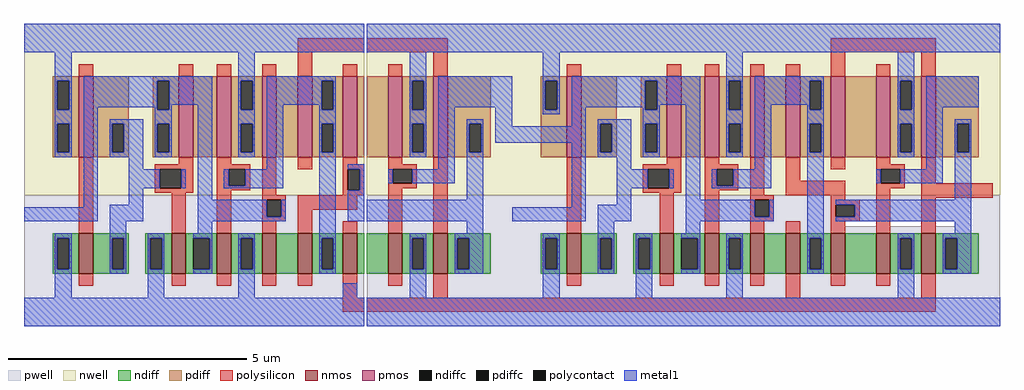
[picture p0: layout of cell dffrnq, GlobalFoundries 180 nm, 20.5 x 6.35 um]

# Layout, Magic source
magic
tech gf180mcuD
magscale 1 5
<< nwell >>
rect -745 325 -30 685
rect -25 325 1305 685
<< pwell >>
rect -745 50 -30 325
rect -25 270 1305 325
rect -25 260 980 270
rect 1045 260 1075 270
rect 1140 260 1170 270
rect 1210 260 1305 270
rect -25 50 1305 260
<< nmos >>
rect -630 160 -600 245
rect -435 160 -405 245
rect -340 160 -310 245
rect -245 160 -215 245
rect -170 160 -140 245
rect -75 160 -45 245
rect 20 160 50 245
rect 115 160 145 245
rect 395 160 425 245
rect 590 160 620 245
rect 685 160 715 245
rect 780 160 810 245
rect 855 160 885 245
rect 950 160 980 245
rect 1045 160 1075 245
rect 1140 160 1170 245
<< pmos >>
rect -630 405 -600 575
rect -420 405 -390 575
rect -340 405 -310 575
rect -245 405 -215 575
rect -170 405 -140 575
rect -75 405 -45 575
rect 20 405 50 575
rect 115 405 145 575
rect 395 405 425 575
rect 605 405 635 575
rect 685 405 715 575
rect 780 405 810 575
rect 855 405 885 575
rect 950 405 980 575
rect 1045 405 1075 575
rect 1140 405 1170 575
<< ndiff >>
rect -685 235 -630 245
rect -685 170 -675 235
rect -650 170 -630 235
rect -685 160 -630 170
rect -600 235 -525 245
rect -600 170 -560 235
rect -535 170 -525 235
rect -600 160 -525 170
rect -490 235 -435 245
rect -490 170 -480 235
rect -455 170 -435 235
rect -490 160 -435 170
rect -405 235 -340 245
rect -405 170 -390 235
rect -355 170 -340 235
rect -405 160 -340 170
rect -310 235 -245 245
rect -310 170 -290 235
rect -265 170 -245 235
rect -310 160 -245 170
rect -215 160 -170 245
rect -140 235 -75 245
rect -140 170 -120 235
rect -95 170 -75 235
rect -140 160 -75 170
rect -45 160 -30 245
rect -25 160 20 245
rect 50 235 115 245
rect 50 170 70 235
rect 95 170 115 235
rect 50 160 115 170
rect 145 235 235 245
rect 145 170 165 235
rect 190 170 235 235
rect 145 160 235 170
rect 340 235 395 245
rect 340 170 350 235
rect 375 170 395 235
rect 340 160 395 170
rect 425 235 500 245
rect 425 170 465 235
rect 490 170 500 235
rect 425 160 500 170
rect 535 235 590 245
rect 535 170 545 235
rect 570 170 590 235
rect 535 160 590 170
rect 620 235 685 245
rect 620 170 635 235
rect 670 170 685 235
rect 620 160 685 170
rect 715 235 780 245
rect 715 170 735 235
rect 760 170 780 235
rect 715 160 780 170
rect 810 160 855 245
rect 885 235 950 245
rect 885 170 905 235
rect 930 170 950 235
rect 885 160 950 170
rect 980 160 1045 245
rect 1075 235 1140 245
rect 1075 170 1095 235
rect 1120 170 1140 235
rect 1075 160 1140 170
rect 1170 235 1260 245
rect 1170 170 1190 235
rect 1215 170 1260 235
rect 1170 160 1260 170
<< pdiff >>
rect -685 565 -630 575
rect -685 505 -675 565
rect -650 505 -630 565
rect -685 475 -630 505
rect -685 415 -675 475
rect -650 415 -630 475
rect -685 405 -630 415
rect -600 475 -525 575
rect -600 415 -560 475
rect -535 415 -525 475
rect -600 405 -525 415
rect -475 565 -420 575
rect -475 505 -465 565
rect -440 505 -420 565
rect -475 475 -420 505
rect -475 415 -465 475
rect -440 415 -420 475
rect -475 405 -420 415
rect -390 405 -340 575
rect -310 565 -245 575
rect -310 505 -290 565
rect -265 505 -245 565
rect -310 475 -245 505
rect -310 415 -290 475
rect -265 415 -245 475
rect -310 405 -245 415
rect -215 405 -170 575
rect -140 565 -75 575
rect -140 505 -120 565
rect -95 505 -75 565
rect -140 475 -75 505
rect -140 415 -120 475
rect -95 415 -75 475
rect -140 405 -75 415
rect -45 405 -30 575
rect -25 405 20 575
rect 50 565 115 575
rect 50 505 70 565
rect 95 505 115 565
rect 50 475 115 505
rect 50 415 70 475
rect 95 415 115 475
rect 50 405 115 415
rect 145 475 235 575
rect 145 415 190 475
rect 215 415 235 475
rect 145 405 235 415
rect 340 565 395 575
rect 340 505 350 565
rect 375 505 395 565
rect 340 405 395 505
rect 425 475 500 575
rect 425 415 465 475
rect 490 415 500 475
rect 425 405 500 415
rect 550 565 605 575
rect 550 505 560 565
rect 585 505 605 565
rect 550 475 605 505
rect 550 415 560 475
rect 585 415 605 475
rect 550 405 605 415
rect 635 405 685 575
rect 715 565 780 575
rect 715 505 735 565
rect 760 505 780 565
rect 715 475 780 505
rect 715 415 735 475
rect 760 415 780 475
rect 715 405 780 415
rect 810 405 855 575
rect 885 565 950 575
rect 885 505 905 565
rect 930 505 950 565
rect 885 475 950 505
rect 885 415 905 475
rect 930 415 950 475
rect 885 405 950 415
rect 980 405 1045 575
rect 1075 565 1140 575
rect 1075 505 1095 565
rect 1120 505 1140 565
rect 1075 475 1140 505
rect 1075 415 1095 475
rect 1120 415 1140 475
rect 1075 405 1140 415
rect 1170 475 1260 575
rect 1170 415 1215 475
rect 1240 415 1260 475
rect 1170 405 1260 415
<< ndiffc >>
rect -675 170 -650 235
rect -560 170 -535 235
rect -480 170 -455 235
rect -390 170 -355 235
rect -290 170 -265 235
rect -120 170 -95 235
rect 70 170 95 235
rect 165 170 190 235
rect 350 170 375 235
rect 465 170 490 235
rect 545 170 570 235
rect 635 170 670 235
rect 735 170 760 235
rect 905 170 930 235
rect 1095 170 1120 235
rect 1190 170 1215 235
<< pdiffc >>
rect -675 505 -650 565
rect -675 415 -650 475
rect -560 415 -535 475
rect -465 505 -440 565
rect -465 415 -440 475
rect -290 505 -265 565
rect -290 415 -265 475
rect -120 505 -95 565
rect -120 415 -95 475
rect 70 505 95 565
rect 70 415 95 475
rect 190 415 215 475
rect 350 505 375 565
rect 465 415 490 475
rect 560 505 585 565
rect 560 415 585 475
rect 735 505 760 565
rect 735 415 760 475
rect 905 505 930 565
rect 905 415 930 475
rect 1095 505 1120 565
rect 1095 415 1120 475
rect 1215 415 1240 475
<< polysilicon >>
rect -170 625 -30 655
rect -25 625 145 655
rect -630 575 -600 600
rect -420 575 -390 600
rect -340 575 -310 600
rect -245 575 -215 600
rect -170 575 -140 625
rect -75 575 -45 600
rect 20 575 50 600
rect 115 575 145 625
rect 950 625 1170 655
rect 395 575 425 600
rect 605 575 635 600
rect 685 575 715 600
rect 780 575 810 600
rect 855 575 885 600
rect 950 575 980 625
rect 1045 575 1075 600
rect 1140 575 1170 625
rect -630 245 -600 405
rect -420 390 -390 405
rect -470 380 -390 390
rect -470 340 -460 380
rect -415 340 -390 380
rect -470 330 -390 340
rect -340 390 -310 405
rect -340 380 -270 390
rect -340 345 -315 380
rect -280 345 -270 380
rect -340 335 -270 345
rect -435 245 -405 330
rect -340 245 -310 335
rect -245 325 -215 405
rect -170 380 -140 405
rect -75 390 -45 405
rect 20 390 50 405
rect -75 380 -30 390
rect -75 335 -65 380
rect -40 335 -30 380
rect -75 325 -30 335
rect 20 380 80 390
rect 20 350 30 380
rect 70 350 80 380
rect 20 340 80 350
rect -245 315 -195 325
rect -245 280 -235 315
rect -205 280 -195 315
rect -245 270 -195 280
rect -170 295 -45 325
rect -245 245 -215 270
rect -170 245 -140 295
rect -75 245 -45 270
rect 20 245 50 340
rect 115 245 145 405
rect 395 245 425 405
rect 605 390 635 405
rect 555 380 635 390
rect 555 340 565 380
rect 610 340 635 380
rect 555 330 635 340
rect 685 390 715 405
rect 685 380 755 390
rect 685 345 710 380
rect 745 345 755 380
rect 685 335 755 345
rect 590 245 620 330
rect 685 245 715 335
rect 780 325 810 405
rect 855 355 885 405
rect 950 380 980 405
rect 1045 390 1075 405
rect 1045 380 1105 390
rect 855 325 980 355
rect 780 315 830 325
rect 780 280 790 315
rect 820 280 830 315
rect 780 270 830 280
rect 950 315 980 325
rect 1045 350 1055 380
rect 1095 350 1105 380
rect 1045 340 1105 350
rect 1140 350 1170 405
rect 950 305 1010 315
rect 950 280 960 305
rect 1000 280 1010 305
rect 950 270 1010 280
rect 780 245 810 270
rect 855 245 885 270
rect 950 245 980 270
rect 1045 245 1075 340
rect 1140 320 1290 350
rect 1140 245 1170 320
rect -630 135 -600 160
rect -435 135 -405 160
rect -340 135 -310 160
rect -245 135 -215 160
rect -170 135 -140 160
rect -75 110 -45 160
rect 20 135 50 160
rect 115 110 145 160
rect 395 135 425 160
rect 590 135 620 160
rect 685 135 715 160
rect 780 135 810 160
rect 855 110 885 160
rect 950 135 980 160
rect 1045 135 1075 160
rect 1140 110 1170 160
rect -75 80 -30 110
rect -25 80 1170 110
<< polycontact >>
rect -460 340 -415 380
rect -315 345 -280 380
rect -65 335 -40 380
rect 30 350 70 380
rect -235 280 -205 315
rect 565 340 610 380
rect 710 345 745 380
rect 790 280 820 315
rect 1055 350 1095 380
rect 960 280 1000 305
<< metal1 >>
rect -745 625 -30 685
rect -25 625 1305 685
rect -680 565 -645 625
rect -680 505 -675 565
rect -650 505 -645 565
rect -680 475 -645 505
rect -680 415 -675 475
rect -650 415 -645 475
rect -680 405 -645 415
rect -620 565 -350 575
rect -620 510 -465 565
rect -620 300 -590 510
rect -470 505 -465 510
rect -440 515 -350 565
rect -440 505 -435 515
rect -565 475 -495 485
rect -565 415 -560 475
rect -535 415 -495 475
rect -565 405 -495 415
rect -470 475 -435 505
rect -470 415 -465 475
rect -440 415 -435 475
rect -470 405 -435 415
rect -525 380 -495 405
rect -525 340 -460 380
rect -415 340 -405 380
rect -525 305 -495 340
rect -745 270 -590 300
rect -565 270 -495 305
rect -380 315 -350 515
rect -295 565 -260 625
rect -295 505 -290 565
rect -265 505 -260 565
rect -295 475 -260 505
rect -295 415 -290 475
rect -265 415 -260 475
rect -295 405 -260 415
rect -235 565 -90 575
rect -235 515 -120 565
rect -235 380 -200 515
rect -325 345 -315 380
rect -280 345 -200 380
rect -325 340 -200 345
rect -125 505 -120 515
rect -95 505 -90 565
rect -125 475 -90 505
rect -125 415 -120 475
rect -95 415 -90 475
rect -380 280 -235 315
rect -205 280 -195 315
rect -380 270 -195 280
rect -680 235 -645 245
rect -680 170 -675 235
rect -650 170 -645 235
rect -680 110 -645 170
rect -565 235 -530 270
rect -380 245 -350 270
rect -565 170 -560 235
rect -535 170 -530 235
rect -565 160 -530 170
rect -485 235 -450 245
rect -485 170 -480 235
rect -455 170 -450 235
rect -485 110 -450 170
rect -390 235 -350 245
rect -355 170 -350 235
rect -390 160 -350 170
rect -295 235 -260 245
rect -295 170 -290 235
rect -265 170 -260 235
rect -295 110 -260 170
rect -125 235 -90 415
rect 65 565 100 625
rect 65 505 70 565
rect 95 505 100 565
rect 65 475 100 505
rect 65 415 70 475
rect 95 415 100 475
rect 65 405 100 415
rect 125 510 280 575
rect -65 380 -30 390
rect 125 380 160 510
rect -40 335 -30 380
rect 20 350 30 380
rect 70 350 160 380
rect 185 475 220 485
rect 185 415 190 475
rect 215 415 220 475
rect 245 470 280 510
rect 345 565 380 625
rect 345 505 350 565
rect 375 505 380 565
rect 345 495 380 505
rect 405 565 675 575
rect 405 510 560 565
rect 405 470 435 510
rect 555 505 560 510
rect 585 515 675 565
rect 585 505 590 515
rect 245 435 435 470
rect -65 270 -30 335
rect 185 315 220 415
rect -25 270 220 315
rect 405 300 435 435
rect 460 475 530 485
rect 460 415 465 475
rect 490 415 530 475
rect 460 405 530 415
rect 555 475 590 505
rect 555 415 560 475
rect 585 415 590 475
rect 555 405 590 415
rect 500 380 530 405
rect 500 340 565 380
rect 610 340 620 380
rect 500 305 530 340
rect 280 270 435 300
rect 460 270 530 305
rect 645 315 675 515
rect 730 565 765 625
rect 730 505 735 565
rect 760 505 765 565
rect 730 475 765 505
rect 730 415 735 475
rect 760 415 765 475
rect 730 405 765 415
rect 790 565 935 575
rect 790 515 905 565
rect 790 380 825 515
rect 700 345 710 380
rect 745 345 825 380
rect 700 340 825 345
rect 900 505 905 515
rect 930 505 935 565
rect 900 475 935 505
rect 900 415 905 475
rect 930 415 935 475
rect 645 280 790 315
rect 820 280 830 315
rect 645 270 830 280
rect 185 245 220 270
rect -125 170 -120 235
rect -95 170 -90 235
rect -125 160 -90 170
rect 65 235 100 245
rect 65 170 70 235
rect 95 170 100 235
rect -75 110 -45 140
rect 65 110 100 170
rect 160 235 220 245
rect 160 170 165 235
rect 190 170 220 235
rect 160 160 220 170
rect 345 235 380 245
rect 345 170 350 235
rect 375 170 380 235
rect 345 110 380 170
rect 460 235 495 270
rect 645 245 675 270
rect 460 170 465 235
rect 490 170 495 235
rect 460 160 495 170
rect 540 235 575 245
rect 540 170 545 235
rect 570 170 575 235
rect 540 110 575 170
rect 635 235 675 245
rect 670 170 675 235
rect 635 160 675 170
rect 730 235 765 245
rect 730 170 735 235
rect 760 170 765 235
rect 730 110 765 170
rect 900 235 935 415
rect 1090 565 1125 625
rect 1090 505 1095 565
rect 1120 505 1125 565
rect 1090 475 1125 505
rect 1090 415 1095 475
rect 1120 415 1125 475
rect 1090 405 1125 415
rect 1150 510 1260 575
rect 1150 380 1185 510
rect 1045 350 1055 380
rect 1095 350 1185 380
rect 1210 475 1245 485
rect 1210 415 1215 475
rect 1240 415 1245 475
rect 1210 315 1245 415
rect 960 305 1245 315
rect 1000 280 1245 305
rect 960 270 1245 280
rect 1210 245 1245 270
rect 900 170 905 235
rect 930 170 935 235
rect 900 160 935 170
rect 1090 235 1125 245
rect 1090 170 1095 235
rect 1120 170 1125 235
rect 1090 110 1125 170
rect 1185 235 1245 245
rect 1185 170 1190 235
rect 1215 170 1245 235
rect 1185 160 1245 170
rect -745 50 -30 110
rect -25 50 1305 110
<< end >>
